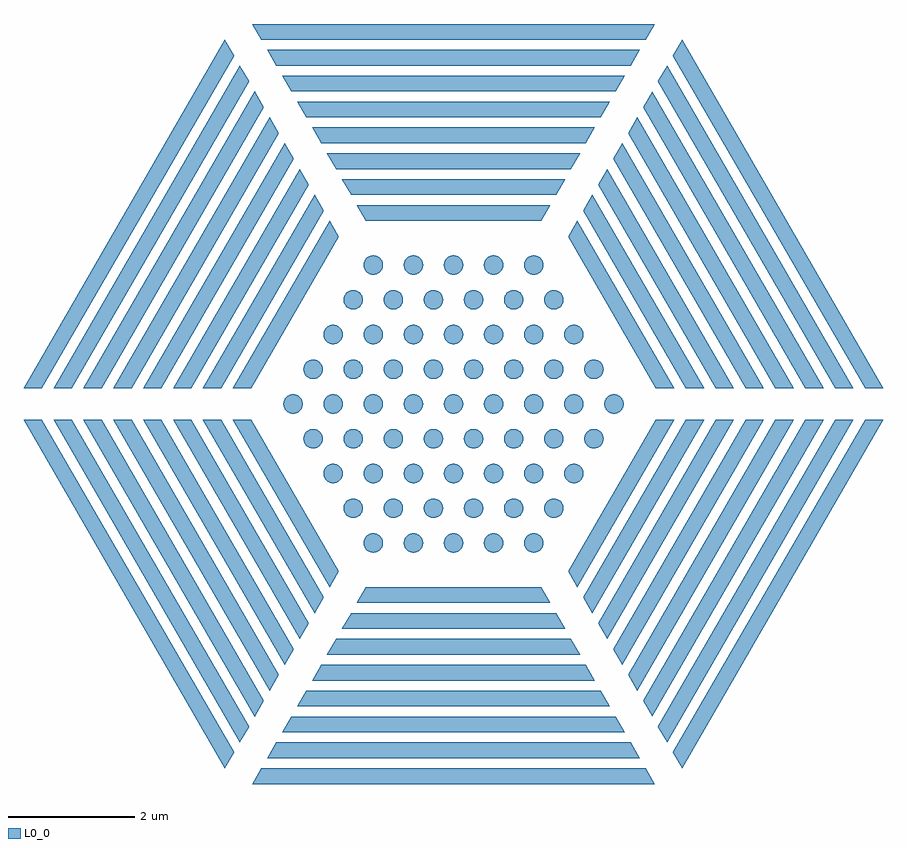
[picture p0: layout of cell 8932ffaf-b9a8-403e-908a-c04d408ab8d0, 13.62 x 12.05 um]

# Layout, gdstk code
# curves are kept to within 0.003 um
import gdstk
lib = gdstk.Library(unit=1e-6, precision=1e-09)
def P(c, l, *ps):  # polygons
    for p in ps: c.add(gdstk.Polygon(p, *l))
L0_0 = (0, 0)

c_8932ffaf_b9a8_403e_908a_ = lib.new_cell('8932ffaf-b9a8-403e-908a-c04d408ab8d0')
P(c_8932ffaf_b9a8_403e_908a_, L0_0, [(7.441,0),(7.438,0.032),(7.428,0.063),(7.397,0.108),(7.352,0.139),(7.321,0.149),(7.289,0.153),(7.256,0.149),(7.225,0.139),(7.181,0.108),(7.16,0.083),(7.15,0.063),(7.136,0.011),(7.142,-0.043),(7.16,-0.083),(7.173,-0.1),(7.197,-0.122),(7.225,-0.139),(7.256,-0.149),(7.289,-0.153),(7.321,-0.149),(7.352,-0.139),(7.397,-0.108),(7.428,-0.063),(7.438,-0.032)],
  [(6.805,0),(6.802,0.032),(6.792,0.063),(6.761,0.108),(6.716,0.139),(6.685,0.149),(6.653,0.153),(6.62,0.149),(6.589,0.139),(6.545,0.108),(6.524,0.083),(6.514,0.063),(6.5,0.011),(6.506,-0.043),(6.524,-0.083),(6.537,-0.1),(6.561,-0.122),(6.589,-0.139),(6.62,-0.149),(6.653,-0.153),(6.685,-0.149),(6.716,-0.139),(6.761,-0.108),(6.792,-0.063),(6.802,-0.032)],
  [(7.123,0.551),(7.12,0.583),(7.11,0.614),(7.079,0.659),(7.034,0.69),(6.982,0.703),(6.949,0.702),(6.917,0.694),(6.879,0.673),(6.855,0.651),(6.837,0.624),(6.824,0.594),(6.818,0.562),(6.824,0.508),(6.842,0.468),(6.855,0.451),(6.888,0.422),(6.907,0.412),(6.928,0.404),(6.971,0.398),(7.014,0.404),(7.034,0.412),(7.079,0.443),(7.11,0.487),(7.12,0.518)],
  [(7.759,0.551),(7.756,0.583),(7.746,0.614),(7.715,0.659),(7.67,0.69),(7.618,0.703),(7.585,0.702),(7.553,0.694),(7.515,0.673),(7.491,0.651),(7.473,0.624),(7.46,0.594),(7.454,0.562),(7.46,0.508),(7.478,0.468),(7.491,0.451),(7.524,0.422),(7.543,0.412),(7.564,0.404),(7.607,0.398),(7.65,0.404),(7.67,0.412),(7.715,0.443),(7.746,0.487),(7.756,0.518)],
  [(8.077,0),(8.074,0.032),(8.064,0.063),(8.033,0.108),(7.988,0.139),(7.957,0.149),(7.925,0.153),(7.892,0.149),(7.861,0.139),(7.817,0.108),(7.796,0.083),(7.786,0.063),(7.772,0.011),(7.778,-0.043),(7.796,-0.083),(7.809,-0.1),(7.833,-0.122),(7.861,-0.139),(7.892,-0.149),(7.925,-0.153),(7.957,-0.149),(7.988,-0.139),(8.033,-0.108),(8.064,-0.063),(8.074,-0.032)],
  [(7.759,-0.551),(7.756,-0.518),(7.746,-0.487),(7.715,-0.443),(7.67,-0.412),(7.65,-0.404),(7.607,-0.398),(7.553,-0.408),(7.507,-0.435),(7.478,-0.468),(7.468,-0.487),(7.454,-0.54),(7.46,-0.594),(7.491,-0.651),(7.515,-0.673),(7.543,-0.69),(7.596,-0.703),(7.628,-0.702),(7.66,-0.694),(7.68,-0.685),(7.715,-0.659),(7.746,-0.614),(7.756,-0.583)],
  [(7.123,-0.551),(7.12,-0.518),(7.11,-0.487),(7.079,-0.443),(7.034,-0.412),(7.014,-0.404),(6.971,-0.398),(6.917,-0.408),(6.871,-0.435),(6.842,-0.468),(6.832,-0.487),(6.818,-0.54),(6.824,-0.594),(6.855,-0.651),(6.879,-0.673),(6.907,-0.69),(6.96,-0.703),(6.992,-0.702),(7.024,-0.694),(7.044,-0.685),(7.079,-0.659),(7.11,-0.614),(7.12,-0.583)],
  [(6.169,0),(6.166,0.032),(6.156,0.063),(6.125,0.108),(6.08,0.139),(6.049,0.149),(6.017,0.153),(5.984,0.149),(5.953,0.139),(5.909,0.108),(5.888,0.083),(5.878,0.063),(5.864,0.011),(5.87,-0.043),(5.888,-0.083),(5.901,-0.1),(5.925,-0.122),(5.953,-0.139),(5.984,-0.149),(6.017,-0.153),(6.049,-0.149),(6.08,-0.139),(6.125,-0.108),(6.156,-0.063),(6.166,-0.032)],
  [(6.805,1.102),(6.802,1.134),(6.792,1.165),(6.761,1.21),(6.726,1.236),(6.706,1.245),(6.674,1.253),(6.642,1.254),(6.599,1.245),(6.58,1.236),(6.537,1.202),(6.506,1.145),(6.5,1.091),(6.506,1.059),(6.519,1.028),(6.537,1.002),(6.561,0.979),(6.62,0.952),(6.664,0.949),(6.716,0.963),(6.761,0.994),(6.792,1.038),(6.802,1.069)],
  [(8.077,1.102),(8.074,1.134),(8.064,1.165),(8.033,1.21),(7.998,1.236),(7.978,1.245),(7.946,1.253),(7.914,1.254),(7.871,1.245),(7.852,1.236),(7.809,1.202),(7.778,1.145),(7.772,1.091),(7.778,1.059),(7.791,1.028),(7.809,1.002),(7.833,0.979),(7.892,0.952),(7.936,0.949),(7.988,0.963),(8.033,0.994),(8.064,1.038),(8.074,1.069)],
  [(8.713,0),(8.71,0.032),(8.7,0.063),(8.669,0.108),(8.624,0.139),(8.593,0.149),(8.561,0.153),(8.528,0.149),(8.497,0.139),(8.453,0.108),(8.432,0.083),(8.422,0.063),(8.408,0.011),(8.414,-0.043),(8.432,-0.083),(8.445,-0.1),(8.469,-0.122),(8.497,-0.139),(8.528,-0.149),(8.561,-0.153),(8.593,-0.149),(8.624,-0.139),(8.669,-0.108),(8.7,-0.063),(8.71,-0.032)],
  [(8.077,-1.102),(8.074,-1.069),(8.064,-1.038),(8.033,-0.994),(7.988,-0.963),(7.936,-0.949),(7.892,-0.952),(7.833,-0.979),(7.809,-1.002),(7.791,-1.028),(7.778,-1.059),(7.772,-1.091),(7.778,-1.145),(7.809,-1.202),(7.852,-1.236),(7.871,-1.245),(7.914,-1.254),(7.946,-1.253),(7.978,-1.245),(7.998,-1.236),(8.033,-1.21),(8.064,-1.165),(8.074,-1.134)],
  [(6.805,-1.102),(6.802,-1.069),(6.792,-1.038),(6.761,-0.994),(6.716,-0.963),(6.664,-0.949),(6.62,-0.952),(6.561,-0.979),(6.537,-1.002),(6.519,-1.028),(6.506,-1.059),(6.5,-1.091),(6.506,-1.145),(6.537,-1.202),(6.58,-1.236),(6.599,-1.245),(6.642,-1.254),(6.674,-1.253),(6.706,-1.245),(6.726,-1.236),(6.761,-1.21),(6.792,-1.165),(6.802,-1.134)],
  [(6.487,0.551),(6.484,0.583),(6.474,0.614),(6.443,0.659),(6.398,0.69),(6.346,0.703),(6.313,0.702),(6.281,0.694),(6.243,0.673),(6.219,0.651),(6.201,0.624),(6.188,0.594),(6.182,0.562),(6.188,0.508),(6.206,0.468),(6.219,0.451),(6.252,0.422),(6.271,0.412),(6.292,0.404),(6.335,0.398),(6.378,0.404),(6.398,0.412),(6.443,0.443),(6.474,0.487),(6.484,0.518)],
  [(7.441,1.102),(7.438,1.134),(7.428,1.165),(7.397,1.21),(7.362,1.236),(7.342,1.245),(7.31,1.253),(7.278,1.254),(7.235,1.245),(7.216,1.236),(7.173,1.202),(7.142,1.145),(7.136,1.091),(7.142,1.059),(7.155,1.028),(7.173,1.002),(7.197,0.979),(7.256,0.952),(7.3,0.949),(7.352,0.963),(7.397,0.994),(7.428,1.038),(7.438,1.069)],
  [(8.395,0.551),(8.392,0.583),(8.382,0.614),(8.351,0.659),(8.306,0.69),(8.254,0.703),(8.221,0.702),(8.189,0.694),(8.151,0.673),(8.127,0.651),(8.109,0.624),(8.096,0.594),(8.09,0.562),(8.096,0.508),(8.114,0.468),(8.127,0.451),(8.16,0.422),(8.179,0.412),(8.2,0.404),(8.243,0.398),(8.286,0.404),(8.306,0.412),(8.351,0.443),(8.382,0.487),(8.392,0.518)],
  [(8.395,-0.551),(8.392,-0.518),(8.382,-0.487),(8.351,-0.443),(8.306,-0.412),(8.286,-0.404),(8.243,-0.398),(8.189,-0.408),(8.143,-0.435),(8.114,-0.468),(8.104,-0.487),(8.09,-0.54),(8.096,-0.594),(8.127,-0.651),(8.151,-0.673),(8.179,-0.69),(8.232,-0.703),(8.264,-0.702),(8.296,-0.694),(8.316,-0.685),(8.351,-0.659),(8.382,-0.614),(8.392,-0.583)],
  [(7.441,-1.102),(7.438,-1.069),(7.428,-1.038),(7.397,-0.994),(7.352,-0.963),(7.3,-0.949),(7.256,-0.952),(7.197,-0.979),(7.173,-1.002),(7.155,-1.028),(7.142,-1.059),(7.136,-1.091),(7.142,-1.145),(7.173,-1.202),(7.216,-1.236),(7.235,-1.245),(7.278,-1.254),(7.31,-1.253),(7.342,-1.245),(7.362,-1.236),(7.397,-1.21),(7.428,-1.165),(7.438,-1.134)],
  [(6.487,-0.551),(6.484,-0.518),(6.474,-0.487),(6.443,-0.443),(6.398,-0.412),(6.378,-0.404),(6.335,-0.398),(6.281,-0.408),(6.235,-0.435),(6.206,-0.468),(6.196,-0.487),(6.182,-0.54),(6.188,-0.594),(6.219,-0.651),(6.243,-0.673),(6.271,-0.69),(6.324,-0.703),(6.356,-0.702),(6.388,-0.694),(6.408,-0.685),(6.443,-0.659),(6.474,-0.614),(6.484,-0.583)],
  [(5.533,0),(5.53,0.032),(5.52,0.063),(5.489,0.108),(5.444,0.139),(5.413,0.149),(5.381,0.153),(5.348,0.149),(5.317,0.139),(5.273,0.108),(5.252,0.083),(5.242,0.063),(5.228,0.011),(5.234,-0.043),(5.252,-0.083),(5.265,-0.1),(5.289,-0.122),(5.317,-0.139),(5.348,-0.149),(5.381,-0.153),(5.413,-0.149),(5.444,-0.139),(5.489,-0.108),(5.52,-0.063),(5.53,-0.032)],
  [(6.487,1.652),(6.484,1.685),(6.474,1.716),(6.443,1.76),(6.398,1.791),(6.346,1.805),(6.302,1.802),(6.243,1.775),(6.219,1.752),(6.201,1.726),(6.188,1.695),(6.182,1.663),(6.188,1.609),(6.219,1.552),(6.262,1.518),(6.281,1.509),(6.324,1.5),(6.356,1.501),(6.388,1.509),(6.408,1.518),(6.443,1.544),(6.474,1.589),(6.484,1.62)],
  [(8.395,1.652),(8.392,1.685),(8.382,1.716),(8.351,1.76),(8.306,1.791),(8.254,1.805),(8.21,1.802),(8.151,1.775),(8.127,1.752),(8.109,1.726),(8.096,1.695),(8.09,1.663),(8.096,1.609),(8.127,1.552),(8.17,1.518),(8.189,1.509),(8.232,1.5),(8.264,1.501),(8.296,1.509),(8.316,1.518),(8.351,1.544),(8.382,1.589),(8.392,1.62)],
  [(9.349,0),(9.346,0.032),(9.336,0.063),(9.305,0.108),(9.26,0.139),(9.229,0.149),(9.197,0.153),(9.164,0.149),(9.133,0.139),(9.089,0.108),(9.068,0.083),(9.058,0.063),(9.044,0.011),(9.05,-0.043),(9.068,-0.083),(9.081,-0.1),(9.105,-0.122),(9.133,-0.139),(9.164,-0.149),(9.197,-0.153),(9.229,-0.149),(9.26,-0.139),(9.305,-0.108),(9.336,-0.063),(9.346,-0.032)],
  [(8.395,-1.652),(8.392,-1.62),(8.382,-1.589),(8.351,-1.544),(8.316,-1.518),(8.286,-1.506),(8.254,-1.5),(8.221,-1.501),(8.189,-1.509),(8.151,-1.53),(8.127,-1.552),(8.109,-1.579),(8.096,-1.609),(8.09,-1.641),(8.096,-1.695),(8.109,-1.726),(8.127,-1.752),(8.151,-1.775),(8.179,-1.791),(8.232,-1.805),(8.286,-1.799),(8.343,-1.768),(8.365,-1.744),(8.382,-1.716),(8.392,-1.685)],
  [(6.487,-1.652),(6.484,-1.62),(6.474,-1.589),(6.443,-1.544),(6.408,-1.518),(6.378,-1.506),(6.346,-1.5),(6.313,-1.501),(6.281,-1.509),(6.243,-1.53),(6.219,-1.552),(6.201,-1.579),(6.188,-1.609),(6.182,-1.641),(6.188,-1.695),(6.201,-1.726),(6.219,-1.752),(6.243,-1.775),(6.271,-1.791),(6.324,-1.805),(6.378,-1.799),(6.435,-1.768),(6.457,-1.744),(6.474,-1.716),(6.484,-1.685)],
  [(5.851,0.551),(5.848,0.583),(5.838,0.614),(5.807,0.659),(5.762,0.69),(5.71,0.703),(5.677,0.702),(5.645,0.694),(5.607,0.673),(5.583,0.651),(5.565,0.624),(5.552,0.594),(5.546,0.562),(5.552,0.508),(5.57,0.468),(5.583,0.451),(5.616,0.422),(5.635,0.412),(5.656,0.404),(5.699,0.398),(5.742,0.404),(5.762,0.412),(5.807,0.443),(5.838,0.487),(5.848,0.518)],
  [(7.123,1.652),(7.12,1.685),(7.11,1.716),(7.079,1.76),(7.034,1.791),(6.982,1.805),(6.938,1.802),(6.879,1.775),(6.855,1.752),(6.837,1.726),(6.824,1.695),(6.818,1.663),(6.824,1.609),(6.855,1.552),(6.898,1.518),(6.917,1.509),(6.96,1.5),(6.992,1.501),(7.024,1.509),(7.044,1.518),(7.079,1.544),(7.11,1.589),(7.12,1.62)],
  [(8.713,1.102),(8.71,1.134),(8.7,1.165),(8.669,1.21),(8.634,1.236),(8.614,1.245),(8.582,1.253),(8.55,1.254),(8.507,1.245),(8.488,1.236),(8.445,1.202),(8.414,1.145),(8.408,1.091),(8.414,1.059),(8.427,1.028),(8.445,1.002),(8.469,0.979),(8.528,0.952),(8.572,0.949),(8.624,0.963),(8.669,0.994),(8.7,1.038),(8.71,1.069)],
  [(9.031,-0.551),(9.028,-0.518),(9.018,-0.487),(8.987,-0.443),(8.942,-0.412),(8.922,-0.404),(8.879,-0.398),(8.825,-0.408),(8.779,-0.435),(8.75,-0.468),(8.74,-0.487),(8.726,-0.54),(8.732,-0.594),(8.763,-0.651),(8.787,-0.673),(8.815,-0.69),(8.868,-0.703),(8.9,-0.702),(8.932,-0.694),(8.952,-0.685),(8.987,-0.659),(9.018,-0.614),(9.028,-0.583)],
  [(7.759,-1.652),(7.756,-1.62),(7.746,-1.589),(7.715,-1.544),(7.68,-1.518),(7.65,-1.506),(7.618,-1.5),(7.585,-1.501),(7.553,-1.509),(7.515,-1.53),(7.491,-1.552),(7.473,-1.579),(7.46,-1.609),(7.454,-1.641),(7.46,-1.695),(7.473,-1.726),(7.491,-1.752),(7.515,-1.775),(7.543,-1.791),(7.596,-1.805),(7.65,-1.799),(7.707,-1.768),(7.729,-1.744),(7.746,-1.716),(7.756,-1.685)],
  [(6.169,-1.102),(6.166,-1.069),(6.156,-1.038),(6.125,-0.994),(6.08,-0.963),(6.028,-0.949),(5.984,-0.952),(5.925,-0.979),(5.901,-1.002),(5.883,-1.028),(5.87,-1.059),(5.864,-1.091),(5.87,-1.145),(5.901,-1.202),(5.944,-1.236),(5.963,-1.245),(6.006,-1.254),(6.038,-1.253),(6.07,-1.245),(6.09,-1.236),(6.125,-1.21),(6.156,-1.165),(6.166,-1.134)],
  [(6.169,1.102),(6.166,1.134),(6.156,1.165),(6.125,1.21),(6.09,1.236),(6.07,1.245),(6.038,1.253),(6.006,1.254),(5.963,1.245),(5.944,1.236),(5.901,1.202),(5.87,1.145),(5.864,1.091),(5.87,1.059),(5.883,1.028),(5.901,1.002),(5.925,0.979),(5.984,0.952),(6.028,0.949),(6.08,0.963),(6.125,0.994),(6.156,1.038),(6.166,1.069)],
  [(7.759,1.652),(7.756,1.685),(7.746,1.716),(7.715,1.76),(7.67,1.791),(7.618,1.805),(7.574,1.802),(7.515,1.775),(7.491,1.752),(7.473,1.726),(7.46,1.695),(7.454,1.663),(7.46,1.609),(7.491,1.552),(7.534,1.518),(7.553,1.509),(7.596,1.5),(7.628,1.501),(7.66,1.509),(7.68,1.518),(7.715,1.544),(7.746,1.589),(7.756,1.62)],
  [(9.031,0.551),(9.028,0.583),(9.018,0.614),(8.987,0.659),(8.942,0.69),(8.89,0.703),(8.857,0.702),(8.825,0.694),(8.787,0.673),(8.763,0.651),(8.745,0.624),(8.732,0.594),(8.726,0.562),(8.732,0.508),(8.75,0.468),(8.763,0.451),(8.796,0.422),(8.815,0.412),(8.836,0.404),(8.879,0.398),(8.922,0.404),(8.942,0.412),(8.987,0.443),(9.018,0.487),(9.028,0.518)],
  [(8.713,-1.102),(8.71,-1.069),(8.7,-1.038),(8.669,-0.994),(8.624,-0.963),(8.572,-0.949),(8.528,-0.952),(8.469,-0.979),(8.445,-1.002),(8.427,-1.028),(8.414,-1.059),(8.408,-1.091),(8.414,-1.145),(8.445,-1.202),(8.488,-1.236),(8.507,-1.245),(8.55,-1.254),(8.582,-1.253),(8.614,-1.245),(8.634,-1.236),(8.669,-1.21),(8.7,-1.165),(8.71,-1.134)],
  [(7.123,-1.652),(7.12,-1.62),(7.11,-1.589),(7.079,-1.544),(7.044,-1.518),(7.014,-1.506),(6.982,-1.5),(6.949,-1.501),(6.917,-1.509),(6.879,-1.53),(6.855,-1.552),(6.837,-1.579),(6.824,-1.609),(6.818,-1.641),(6.824,-1.695),(6.837,-1.726),(6.855,-1.752),(6.879,-1.775),(6.907,-1.791),(6.96,-1.805),(7.014,-1.799),(7.071,-1.768),(7.093,-1.744),(7.11,-1.716),(7.12,-1.685)],
  [(5.851,-0.551),(5.848,-0.518),(5.838,-0.487),(5.807,-0.443),(5.762,-0.412),(5.742,-0.404),(5.699,-0.398),(5.645,-0.408),(5.599,-0.435),(5.57,-0.468),(5.56,-0.487),(5.546,-0.54),(5.552,-0.594),(5.583,-0.651),(5.607,-0.673),(5.635,-0.69),(5.688,-0.703),(5.72,-0.702),(5.752,-0.694),(5.772,-0.685),(5.807,-0.659),(5.838,-0.614),(5.848,-0.583)],
  [(4.897,0),(4.894,0.032),(4.884,0.063),(4.853,0.108),(4.808,0.139),(4.777,0.149),(4.745,0.153),(4.712,0.149),(4.681,0.139),(4.637,0.108),(4.616,0.083),(4.606,0.063),(4.592,0.011),(4.598,-0.043),(4.616,-0.083),(4.629,-0.1),(4.653,-0.122),(4.681,-0.139),(4.712,-0.149),(4.745,-0.153),(4.777,-0.149),(4.808,-0.139),(4.853,-0.108),(4.884,-0.063),(4.894,-0.032)],
  [(6.169,2.203),(6.166,2.236),(6.156,2.267),(6.125,2.311),(6.08,2.342),(6.06,2.35),(6.017,2.356),(5.963,2.346),(5.917,2.319),(5.888,2.286),(5.878,2.267),(5.864,2.214),(5.87,2.16),(5.901,2.103),(5.925,2.081),(5.953,2.064),(6.006,2.051),(6.038,2.052),(6.07,2.06),(6.09,2.069),(6.125,2.095),(6.156,2.14),(6.166,2.171)],
  [(8.713,2.203),(8.71,2.236),(8.7,2.267),(8.669,2.311),(8.624,2.342),(8.604,2.35),(8.561,2.356),(8.507,2.346),(8.461,2.319),(8.432,2.286),(8.422,2.267),(8.408,2.214),(8.414,2.16),(8.445,2.103),(8.469,2.081),(8.497,2.064),(8.55,2.051),(8.582,2.052),(8.614,2.06),(8.634,2.069),(8.669,2.095),(8.7,2.14),(8.71,2.171)],
  [(9.985,0),(9.982,0.032),(9.972,0.063),(9.941,0.108),(9.896,0.139),(9.865,0.149),(9.833,0.153),(9.8,0.149),(9.769,0.139),(9.725,0.108),(9.704,0.083),(9.694,0.063),(9.68,0.011),(9.686,-0.043),(9.704,-0.083),(9.717,-0.1),(9.741,-0.122),(9.769,-0.139),(9.8,-0.149),(9.833,-0.153),(9.865,-0.149),(9.896,-0.139),(9.941,-0.108),(9.972,-0.063),(9.982,-0.032)],
  [(8.713,-2.203),(8.71,-2.171),(8.7,-2.14),(8.669,-2.095),(8.624,-2.064),(8.572,-2.051),(8.539,-2.052),(8.507,-2.06),(8.469,-2.081),(8.445,-2.103),(8.427,-2.13),(8.414,-2.16),(8.408,-2.192),(8.414,-2.246),(8.432,-2.286),(8.445,-2.303),(8.478,-2.332),(8.497,-2.342),(8.518,-2.35),(8.561,-2.356),(8.604,-2.35),(8.624,-2.342),(8.669,-2.311),(8.7,-2.267),(8.71,-2.236)],
  [(6.169,-2.203),(6.166,-2.171),(6.156,-2.14),(6.125,-2.095),(6.08,-2.064),(6.028,-2.051),(5.995,-2.052),(5.963,-2.06),(5.925,-2.081),(5.901,-2.103),(5.883,-2.13),(5.87,-2.16),(5.864,-2.192),(5.87,-2.246),(5.888,-2.286),(5.901,-2.303),(5.934,-2.332),(5.953,-2.342),(5.974,-2.35),(6.017,-2.356),(6.06,-2.35),(6.08,-2.342),(6.125,-2.311),(6.156,-2.267),(6.166,-2.236)],
  [(5.215,0.551),(5.212,0.583),(5.202,0.614),(5.171,0.659),(5.126,0.69),(5.074,0.703),(5.041,0.702),(5.009,0.694),(4.971,0.673),(4.947,0.651),(4.929,0.624),(4.916,0.594),(4.91,0.562),(4.916,0.508),(4.934,0.468),(4.947,0.451),(4.98,0.422),(4.999,0.412),(5.02,0.404),(5.063,0.398),(5.106,0.404),(5.126,0.412),(5.171,0.443),(5.202,0.487),(5.212,0.518)],
  [(6.805,2.203),(6.802,2.236),(6.792,2.267),(6.761,2.311),(6.716,2.342),(6.696,2.35),(6.653,2.356),(6.599,2.346),(6.553,2.319),(6.524,2.286),(6.514,2.267),(6.5,2.214),(6.506,2.16),(6.537,2.103),(6.561,2.081),(6.589,2.064),(6.642,2.051),(6.674,2.052),(6.706,2.06),(6.726,2.069),(6.761,2.095),(6.792,2.14),(6.802,2.171)],
  [(9.031,1.652),(9.028,1.685),(9.018,1.716),(8.987,1.76),(8.942,1.791),(8.89,1.805),(8.846,1.802),(8.787,1.775),(8.763,1.752),(8.745,1.726),(8.732,1.695),(8.726,1.663),(8.732,1.609),(8.763,1.552),(8.806,1.518),(8.825,1.509),(8.868,1.5),(8.9,1.501),(8.932,1.509),(8.952,1.518),(8.987,1.544),(9.018,1.589),(9.028,1.62)],
  [(9.667,-0.551),(9.664,-0.518),(9.654,-0.487),(9.623,-0.443),(9.578,-0.412),(9.558,-0.404),(9.515,-0.398),(9.461,-0.408),(9.415,-0.435),(9.386,-0.468),(9.376,-0.487),(9.362,-0.54),(9.368,-0.594),(9.399,-0.651),(9.423,-0.673),(9.451,-0.69),(9.504,-0.703),(9.536,-0.702),(9.568,-0.694),(9.588,-0.685),(9.623,-0.659),(9.654,-0.614),(9.664,-0.583)],
  [(8.077,-2.203),(8.074,-2.171),(8.064,-2.14),(8.033,-2.095),(7.988,-2.064),(7.936,-2.051),(7.903,-2.052),(7.871,-2.06),(7.833,-2.081),(7.809,-2.103),(7.791,-2.13),(7.778,-2.16),(7.772,-2.192),(7.778,-2.246),(7.796,-2.286),(7.809,-2.303),(7.842,-2.332),(7.861,-2.342),(7.882,-2.35),(7.925,-2.356),(7.968,-2.35),(7.988,-2.342),(8.033,-2.311),(8.064,-2.267),(8.074,-2.236)],
  [(5.851,-1.652),(5.848,-1.62),(5.838,-1.589),(5.807,-1.544),(5.772,-1.518),(5.742,-1.506),(5.71,-1.5),(5.677,-1.501),(5.645,-1.509),(5.607,-1.53),(5.583,-1.552),(5.565,-1.579),(5.552,-1.609),(5.546,-1.641),(5.552,-1.695),(5.565,-1.726),(5.583,-1.752),(5.607,-1.775),(5.635,-1.791),(5.688,-1.805),(5.742,-1.799),(5.799,-1.768),(5.821,-1.744),(5.838,-1.716),(5.848,-1.685)],
  [(5.533,1.102),(5.53,1.134),(5.52,1.165),(5.489,1.21),(5.454,1.236),(5.434,1.245),(5.402,1.253),(5.37,1.254),(5.327,1.245),(5.308,1.236),(5.265,1.202),(5.234,1.145),(5.228,1.091),(5.234,1.059),(5.247,1.028),(5.265,1.002),(5.289,0.979),(5.348,0.952),(5.392,0.949),(5.444,0.963),(5.489,0.994),(5.52,1.038),(5.53,1.069)],
  [(7.441,2.203),(7.438,2.236),(7.428,2.267),(7.397,2.311),(7.352,2.342),(7.332,2.35),(7.289,2.356),(7.235,2.346),(7.189,2.319),(7.16,2.286),(7.15,2.267),(7.136,2.214),(7.142,2.16),(7.173,2.103),(7.197,2.081),(7.225,2.064),(7.278,2.051),(7.31,2.052),(7.342,2.06),(7.362,2.069),(7.397,2.095),(7.428,2.14),(7.438,2.171)],
  [(9.349,1.102),(9.346,1.134),(9.336,1.165),(9.305,1.21),(9.27,1.236),(9.25,1.245),(9.218,1.253),(9.186,1.254),(9.143,1.245),(9.124,1.236),(9.081,1.202),(9.05,1.145),(9.044,1.091),(9.05,1.059),(9.063,1.028),(9.081,1.002),(9.105,0.979),(9.164,0.952),(9.208,0.949),(9.26,0.963),(9.305,0.994),(9.336,1.038),(9.346,1.069)],
  [(9.349,-1.102),(9.346,-1.069),(9.336,-1.038),(9.305,-0.994),(9.26,-0.963),(9.208,-0.949),(9.164,-0.952),(9.105,-0.979),(9.081,-1.002),(9.063,-1.028),(9.05,-1.059),(9.044,-1.091),(9.05,-1.145),(9.081,-1.202),(9.124,-1.236),(9.143,-1.245),(9.186,-1.254),(9.218,-1.253),(9.25,-1.245),(9.27,-1.236),(9.305,-1.21),(9.336,-1.165),(9.346,-1.134)],
  [(7.441,-2.203),(7.438,-2.171),(7.428,-2.14),(7.397,-2.095),(7.352,-2.064),(7.3,-2.051),(7.267,-2.052),(7.235,-2.06),(7.197,-2.081),(7.173,-2.103),(7.155,-2.13),(7.142,-2.16),(7.136,-2.192),(7.142,-2.246),(7.16,-2.286),(7.173,-2.303),(7.206,-2.332),(7.225,-2.342),(7.246,-2.35),(7.289,-2.356),(7.332,-2.35),(7.352,-2.342),(7.397,-2.311),(7.428,-2.267),(7.438,-2.236)],
  [(5.533,-1.102),(5.53,-1.069),(5.52,-1.038),(5.489,-0.994),(5.444,-0.963),(5.392,-0.949),(5.348,-0.952),(5.289,-0.979),(5.265,-1.002),(5.247,-1.028),(5.234,-1.059),(5.228,-1.091),(5.234,-1.145),(5.265,-1.202),(5.308,-1.236),(5.327,-1.245),(5.37,-1.254),(5.402,-1.253),(5.434,-1.245),(5.454,-1.236),(5.489,-1.21),(5.52,-1.165),(5.53,-1.134)],
  [(5.851,1.652),(5.848,1.685),(5.838,1.716),(5.807,1.76),(5.762,1.791),(5.71,1.805),(5.666,1.802),(5.607,1.775),(5.583,1.752),(5.565,1.726),(5.552,1.695),(5.546,1.663),(5.552,1.609),(5.583,1.552),(5.626,1.518),(5.645,1.509),(5.688,1.5),(5.72,1.501),(5.752,1.509),(5.772,1.518),(5.807,1.544),(5.838,1.589),(5.848,1.62)],
  [(8.077,2.203),(8.074,2.236),(8.064,2.267),(8.033,2.311),(7.988,2.342),(7.968,2.35),(7.925,2.356),(7.871,2.346),(7.825,2.319),(7.796,2.286),(7.786,2.267),(7.772,2.214),(7.778,2.16),(7.809,2.103),(7.833,2.081),(7.861,2.064),(7.914,2.051),(7.946,2.052),(7.978,2.06),(7.998,2.069),(8.033,2.095),(8.064,2.14),(8.074,2.171)],
  [(9.667,0.551),(9.664,0.583),(9.654,0.614),(9.623,0.659),(9.578,0.69),(9.526,0.703),(9.493,0.702),(9.461,0.694),(9.423,0.673),(9.399,0.651),(9.381,0.624),(9.368,0.594),(9.362,0.562),(9.368,0.508),(9.386,0.468),(9.399,0.451),(9.432,0.422),(9.451,0.412),(9.472,0.404),(9.515,0.398),(9.558,0.404),(9.578,0.412),(9.623,0.443),(9.654,0.487),(9.664,0.518)],
  [(9.031,-1.652),(9.028,-1.62),(9.018,-1.589),(8.987,-1.544),(8.952,-1.518),(8.922,-1.506),(8.89,-1.5),(8.857,-1.501),(8.825,-1.509),(8.787,-1.53),(8.763,-1.552),(8.745,-1.579),(8.732,-1.609),(8.726,-1.641),(8.732,-1.695),(8.745,-1.726),(8.763,-1.752),(8.787,-1.775),(8.815,-1.791),(8.868,-1.805),(8.922,-1.799),(8.979,-1.768),(9.001,-1.744),(9.018,-1.716),(9.028,-1.685)],
  [(6.805,-2.203),(6.802,-2.171),(6.792,-2.14),(6.761,-2.095),(6.716,-2.064),(6.664,-2.051),(6.631,-2.052),(6.599,-2.06),(6.561,-2.081),(6.537,-2.103),(6.519,-2.13),(6.506,-2.16),(6.5,-2.192),(6.506,-2.246),(6.524,-2.286),(6.537,-2.303),(6.57,-2.332),(6.589,-2.342),(6.61,-2.35),(6.653,-2.356),(6.696,-2.35),(6.716,-2.342),(6.761,-2.311),(6.792,-2.267),(6.802,-2.236)],
  [(5.215,-0.551),(5.212,-0.518),(5.202,-0.487),(5.171,-0.443),(5.126,-0.412),(5.106,-0.404),(5.063,-0.398),(5.009,-0.408),(4.963,-0.435),(4.934,-0.468),(4.924,-0.487),(4.91,-0.54),(4.916,-0.594),(4.947,-0.651),(4.971,-0.673),(4.999,-0.69),(5.052,-0.703),(5.084,-0.702),(5.116,-0.694),(5.136,-0.685),(5.171,-0.659),(5.202,-0.614),(5.212,-0.583)],
  [(8.821,3.154),(5.756,3.154),(5.901,2.904),(8.677,2.904)],
  [(9.254,2.904),(9.11,2.654),(10.498,0.25),(10.787,0.25)],
  [(5.468,2.654),(5.323,2.904),(3.79,0.25),(4.079,0.25)],
  [(10.787,-0.25),(10.498,-0.25),(9.11,-2.654),(9.254,-2.904)],
  [(5.468,-2.654),(4.079,-0.25),(3.79,-0.25),(5.323,-2.904)],
  [(8.677,-2.904),(5.901,-2.904),(5.756,-3.154),(8.821,-3.154)],
  [(9.058,3.564),(5.52,3.564),(5.664,3.314),(8.914,3.314)],
  [(9.491,3.314),(9.346,3.064),(10.972,0.25),(11.26,0.25)],
  [(5.231,3.064),(5.087,3.314),(3.317,0.25),(3.606,0.25)],
  [(11.26,-0.25),(10.972,-0.25),(9.346,-3.064),(9.491,-3.314)],
  [(5.231,-3.064),(3.606,-0.25),(3.317,-0.25),(5.087,-3.314)],
  [(8.914,-3.314),(5.664,-3.314),(5.52,-3.564),(9.058,-3.564)],
  [(9.295,3.974),(5.283,3.974),(5.427,3.724),(9.15,3.724)],
  [(9.728,3.724),(9.583,3.474),(11.445,0.25),(11.734,0.25)],
  [(4.994,3.474),(4.85,3.724),(2.844,0.25),(3.132,0.25)],
  [(11.734,-0.25),(11.445,-0.25),(9.583,-3.474),(9.728,-3.724)],
  [(4.994,-3.474),(3.132,-0.25),(2.844,-0.25),(4.85,-3.724)],
  [(9.15,-3.724),(5.427,-3.724),(5.283,-3.974),(9.295,-3.974)],
  [(9.531,4.384),(5.046,4.384),(5.19,4.134),(9.387,4.134)],
  [(9.964,4.134),(9.82,3.884),(11.919,0.25),(12.207,0.25)],
  [(4.758,3.884),(4.613,4.134),(2.37,0.25),(2.659,0.25)],
  [(12.207,-0.25),(11.919,-0.25),(9.82,-3.884),(9.964,-4.134)],
  [(4.758,-3.884),(2.659,-0.25),(2.37,-0.25),(4.613,-4.134)],
  [(9.387,-4.134),(5.19,-4.134),(5.046,-4.384),(9.531,-4.384)],
  [(9.768,4.794),(4.809,4.794),(4.954,4.544),(9.624,4.544)],
  [(10.201,4.544),(10.057,4.294),(12.392,0.25),(12.681,0.25)],
  [(4.521,4.294),(4.377,4.544),(1.897,0.25),(2.185,0.25)],
  [(12.681,-0.25),(12.392,-0.25),(10.057,-4.294),(10.201,-4.544)],
  [(4.521,-4.294),(2.185,-0.25),(1.897,-0.25),(4.377,-4.544)],
  [(9.624,-4.544),(4.954,-4.544),(4.809,-4.794),(9.768,-4.794)],
  [(10.005,5.204),(4.573,5.204),(4.717,4.954),(9.861,4.954)],
  [(4.284,4.704),(4.14,4.954),(1.423,0.25),(1.712,0.25)],
  [(10.438,4.953),(10.294,4.704),(12.866,0.25),(13.154,0.25)],
  [(13.154,-0.25),(12.866,-0.25),(10.294,-4.704),(10.438,-4.953)],
  [(4.284,-4.704),(1.712,-0.25),(1.423,-0.25),(4.14,-4.954)],
  [(9.861,-4.954),(4.717,-4.954),(4.573,-5.204),(10.005,-5.204)],
  [(10.242,5.614),(4.336,5.614),(4.48,5.364),(10.097,5.364)],
  [(10.675,5.364),(10.53,5.114),(13.339,0.25),(13.628,0.25)],
  [(4.047,5.114),(3.903,5.364),(0.95,0.25),(1.238,0.25)],
  [(13.628,-0.25),(13.339,-0.25),(10.53,-5.114),(10.675,-5.364)],
  [(4.047,-5.114),(1.238,-0.25),(0.95,-0.25),(3.903,-5.364)],
  [(10.097,-5.364),(4.48,-5.364),(4.336,-5.614),(10.242,-5.614)],
  [(10.479,6.024),(4.099,6.024),(4.244,5.774),(10.334,5.774)],
  [(10.911,5.774),(10.767,5.524),(13.812,0.25),(14.101,0.25)],
  [(3.811,5.524),(3.666,5.774),(0.476,0.25),(0.765,0.25)],
  [(14.101,-0.25),(13.812,-0.25),(10.767,-5.524),(10.911,-5.774)],
  [(3.811,-5.524),(0.765,-0.25),(0.476,-0.25),(3.666,-5.774)],
  [(10.334,-5.774),(4.244,-5.774),(4.099,-6.024),(10.479,-6.024)])

lib.write_gds('8932ffaf-b9a8-403e-908a-c04d408ab8d0.gds')
